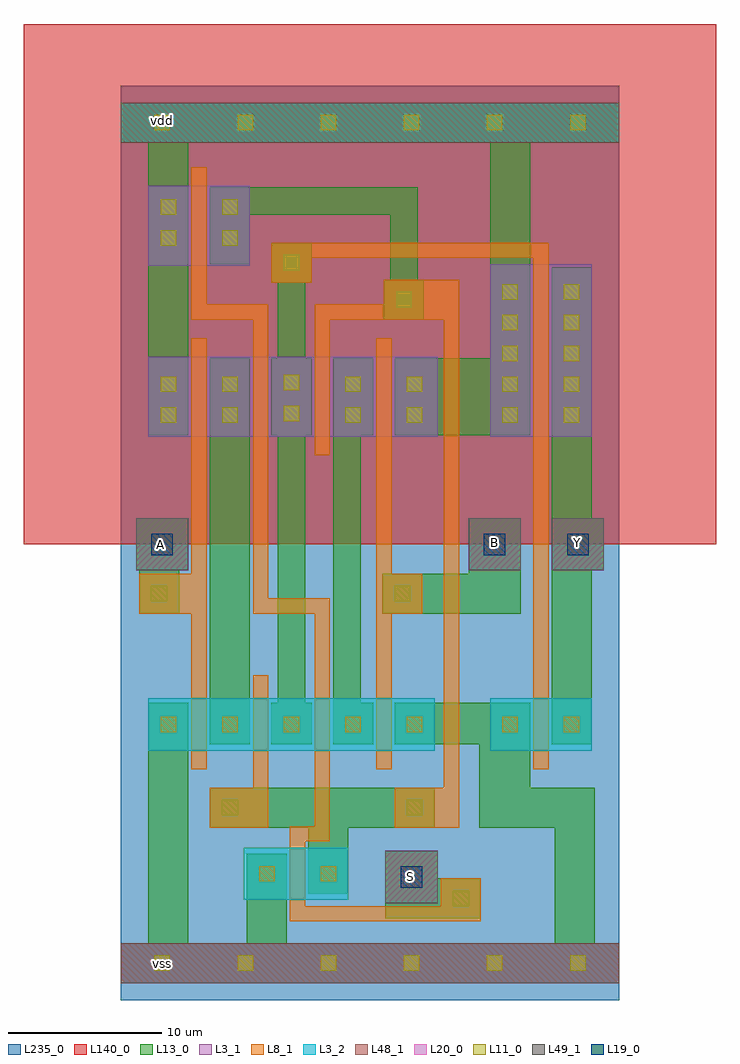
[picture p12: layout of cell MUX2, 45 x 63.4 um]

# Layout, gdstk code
import gdstk
lib = gdstk.Library(unit=1e-6, precision=1e-09)
def R(c, l, rs):  # rectangles x0, y0, x1, y1
    for r in rs: c.add(gdstk.rectangle(r[:2], r[2:], *l))
def A(c, l, x, y, w, h, nx, ny, dx, dy):  # array of equal rectangles
    R(c, l, [(x+i*dx, y+j*dy, x+i*dx+w, y+j*dy+h) for i in range(nx) for j in range(ny)])
def P(c, l, *ps):  # polygons
    for p in ps: c.add(gdstk.Polygon(p, *l))
L3_1 = (3, 1)
L3_2 = (3, 2)
L8_1 = (8, 1)
L11_0 = (11, 0)
L13_0 = (13, 0)
L19_0 = (19, 0)
L20_0 = (20, 0)
L48_1 = (48, 1)
L49_1 = (49, 1)
L140_0 = (140, 0)
L235_0 = (235, 0)

mux2 = lib.new_cell('MUX2')
R(mux2, L3_1, [(0,1.1,32.4,3.7), (1.8,36.6,20.6,41.8), (24,36.6,30.6,47.8), (1.8,47.7,8.4,52.9)])
R(mux2, L3_2, [(8,6.5,14.8,9.9), (1.8,16.2,20.4,19.6), (24,16.2,30.6,19.6), (0,55.7,32.4,58.3)])
R(mux2, L8_1, [(9.8,46.6,12.4,49.2)])
P(mux2, L8_1, [(4.6,15),(4.6,25.1),(1.2,25.1),(1.2,27.7),(4.6,27.7),(4.6,43),(5.6,43),(5.6,15)],
  [(16.6,15),(16.6,43),(17.6,43),(17.6,27.7),(19.6,27.7),(19.6,25.1),(17.6,25.1),(17.6,15)],
  [(17.8,11.2),(17.8,13.8),(21,13.8),(21,44.2),(13.6,44.2),(13.6,35.4),(12.6,35.4),(12.6,45.2),(17.1,45.2),(17.1,46.8),(22,46.8),(22,11.2)],
  [(11,5.1),(11,11.3),(12.6,11.3),(12.6,25.1),(8.6,25.1),(8.6,44.2),(4.6,44.2),(4.6,54.1),(5.6,54.1),(5.6,45.2),(9.6,45.2),(9.6,26.1),(13.6,26.1),(13.6,10.3),(12,10.3),(12,6.1),(20.8,6.1),(20.8,7.9),(23.4,7.9),(23.4,5.1)],
  [(26.8,15),(26.8,48.2),(12.4,48.2),(12.4,49.2),(27.8,49.2),(27.8,15)],
  [(5.8,11.2),(5.8,13.8),(8.6,13.8),(8.6,21.1),(9.6,21.1),(9.6,11.2)])
A(mux2, L11_0, 2.2, 1.9, 1, 1, 6, 2, 5.4, 54.6)
A(mux2, L11_0, 2.6, 17.4, 1, 1, 5, 1, 4, 0)
A(mux2, L11_0, 24.8, 37.5, 1, 1, 1, 5, 0, 2)
A(mux2, L11_0, 28.8, 37.5, 1, 1, 1, 5, 0, 2)
R(mux2, L11_0, [(21.6,6.1,22.6,7.1), (9,7.7,10,8.7), (13,7.7,14,8.7), (6.6,12,7.6,13), (18.6,12,19.6,13), (24.8,17.4,25.8,18.4), (28.8,17.4,29.8,18.4), (2,25.9,3,26.9), (17.8,25.9,18.8,26.9), (2.6,37.5,3.6,38.5), (6.6,37.5,7.6,38.5), (14.6,37.5,15.6,38.5), (18.6,37.5,19.6,38.5), (10.6,37.6,11.6,38.6), (2.6,39.5,3.6,40.5), (6.6,39.5,7.6,40.5), (14.6,39.5,15.6,40.5), (18.6,39.5,19.6,40.5), (10.6,39.6,11.6,40.6), (17.9,45,18.9,46), (10.6,47.4,11.6,48.4), (2.6,49,3.6,50), (6.6,49,7.6,50), (2.6,51,3.6,52), (6.6,51,7.6,52)])
R(mux2, L13_0, [(0,1.1,32.4,3.7), (1.8,3.7,4.4,19.3), (8.2,3.7,10.8,9.5), (5.8,16.6,8.4,41.7), (1.8,36.7,4.4,55.7), (0,55.7,32.4,58.3)])
P(mux2, L13_0, [(13.8,16.6),(13.8,41.7),(16.4,41.7),(16.4,36.7),(15.6,36.7),(15.6,19.3),(16.4,19.3),(16.4,16.6)],
  [(9.8,16.6),(9.8,19.3),(10.2,19.3),(10.2,36.7),(9.8,36.7),(9.8,41.7),(10.2,41.7),(10.2,46.6),(9.8,46.6),(9.8,49.2),(12.4,49.2),(12.4,46.6),(12,46.6),(12,41.7),(12.4,41.7),(12.4,36.7),(12,36.7),(12,19.3),(12.4,19.3),(12.4,16.6)],
  [(17.1,44.2),(17.1,46.8),(17.5,46.8),(17.5,51),(8.4,51),(8.4,47.8),(5.8,47.8),(5.8,52.8),(19.3,52.8),(19.3,46.8),(19.7,46.8),(19.7,44.2)],
  [(17.8,36.7),(17.8,41.7),(24,41.7),(24,55.7),(26.6,55.7),(26.6,36.7)],
  [(17.2,5.3),(17.2,9.7),(20.6,9.7),(20.6,7.9),(23.4,7.9),(23.4,5.3)],
  [(12.2,6.9),(12.2,11.2),(5.8,11.2),(5.8,13.8),(20.4,13.8),(20.4,11.2),(14.8,11.2),(14.8,6.9)],
  [(28.2,3.7),(28.2,11.2),(23.3,11.2),(23.3,16.6),(17.8,16.6),(17.8,19.3),(26.6,19.3),(26.6,13.8),(30.8,13.8),(30.8,3.7)],
  [(1.2,25.1),(1.2,27.9),(1,27.9),(1,31.3),(4.4,31.3),(4.4,27.9),(3.8,27.9),(3.8,25.1)],
  [(17,25.1),(17,27.7),(22.6,27.7),(22.6,31.3),(26,31.3),(26,25.1)],
  [(28,16.6),(28,47.6),(30.6,47.6),(30.6,31.3),(31.4,31.3),(31.4,27.9),(30.6,27.9),(30.6,16.6)])
R(mux2, L19_0, [(18.2,7.3,19.6,8.7), (2,28.9,3.4,30.3), (2,28.9,3.4,30.3), (2,28.9,3.4,30.3), (23.6,28.9,25,30.3), (23.6,28.9,25,30.3), (23.6,28.9,25,30.3), (23.6,28.9,25,30.3), (29,28.9,30.4,30.3), (29,28.9,30.4,30.3), (29,28.9,30.4,30.3), (29,28.9,30.4,30.3)])
R(mux2, L20_0, [(17.2,6.3,20.6,9.7), (1,27.9,4.4,31.3), (1,27.9,4.4,31.3), (1,27.9,4.4,31.3), (22.6,27.9,26,31.3), (22.6,27.9,26,31.3), (22.6,27.9,26,31.3), (22.6,27.9,26,31.3), (28,27.9,31.4,31.3), (28,27.9,31.4,31.3), (28,27.9,31.4,31.3), (28,27.9,31.4,31.3)])
R(mux2, L48_1, [(0,1.1,32.4,3.7), (0,55.7,32.4,58.3)])
R(mux2, L49_1, [(17.2,6.3,20.6,9.7), (1,27.9,4.4,31.3), (22.6,27.9,26,31.3), (28,27.9,31.4,31.3)])
R(mux2, L140_0, [(-6.3,29.6,38.7,63.4)])
R(mux2, L235_0, [(0,0,32.4,59.4)])
mux2.add(gdstk.Label('A', (2.6,29.6), layer=49, texttype=0))
mux2.add(gdstk.Label('B', (24.3,29.7), layer=49, texttype=0))
mux2.add(gdstk.Label('Y', (29.7,29.7), layer=49, texttype=0))
mux2.add(gdstk.Label('S', (18.8,8), layer=49, texttype=0))
mux2.add(gdstk.Label('vss', (2.7,2.4), layer=48, texttype=0))
mux2.add(gdstk.Label('vdd', (2.7,57.1), layer=48, texttype=0))

lib.write_gds('MUX2.gds')
